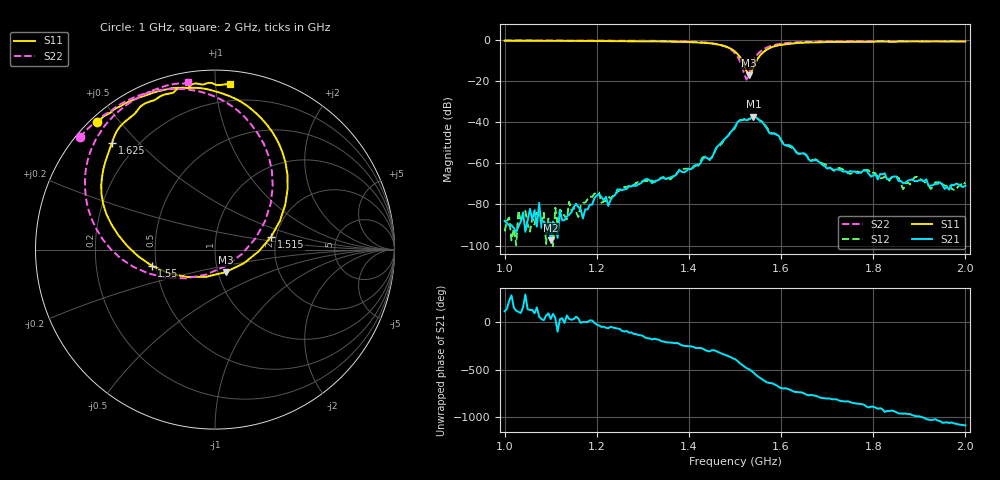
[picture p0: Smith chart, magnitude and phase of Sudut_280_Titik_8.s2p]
# Hz S RI R 50
! CMT, C1220, 16058040, 17.2.0/1
! Date: 14/08/2018 12:08:29
! Data: Format (Calibration Info)
! Freq  S11: Re/Im (F2)  S21: Re/Im (F2)  S12: Re/Im (F2)  S22: Re/Im (F2)
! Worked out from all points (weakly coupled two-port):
!   201 points, 1 GHz to 2 GHz, reference 50 ohm
!   highest |S21| = -37.32 dB at 1.54 GHz (marker M1); lowest = -97.5 dB at 1.1 GHz (marker M2)
!   lowest |S11| = -17.1 dB at 1.53 GHz (marker M3), VSWR 1.32, Z = 54.4 - j13.9 ohm
!   |S11| at or under -10 dB: 1.515 GHz to 1.547 GHz (31.61 MHz wide, 2.06 % of centre)
!   |S22| runs from -19.2 to -0.2 dB; largest |S21 - S12| = 0.00058
!   S11 on the Smith chart (normalised r, x): 1 GHz: 0.02, +0.44; 1.515 GHz: 1.88, +0.30; 1.55 GHz: 0.47, -0.10; 1.625 GHz: 0.11, +0.42; 2 GHz: 0.09, +1.09
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1e9  -0.6548 0.7098  -1.58e-05 3.62e-05  1.07e-05 1.94e-05  -0.7533 0.6258
1.1e9  -0.5643 0.7799  1.13e-05 7.12e-06  -1.18e-05 3.35e-05  -0.6802 0.7007
1.17e9  -0.487 0.8216  4.58e-05 3.55e-07  0.000107 2.78e-05  -0.6162 0.7516
1.205e9  -0.4416 0.8388  0.000142 -0.000103  0.000124 -0.000151  -0.5799 0.7659
1.21e9  -0.4376 0.8408  9.77e-05 -0.000119  9.46e-05 -5.63e-05  -0.5781 0.7689
1.225e9  -0.4175 0.8484  3.91e-05 -8.36e-05  9.43e-05 -0.000122  -0.5661 0.7839
1.245e9  -0.3787 0.8614  8.94e-05 -0.000217  0.000108 -0.000173  -0.5422 0.8005
1.335e9  -0.2301 0.9001  -0.000397 4.75e-05  -0.00042 8.83e-05  -0.3996 0.8665
1.445e9  0.1465 0.8228  0.000772 0.000983  0.000727 0.00096  -0.00614 0.8547
1.5e9  0.4043 0.3366  0.00676 -0.00384  0.00637 -0.00361  0.3217 0.3513
1.515e9  0.313 0.0717  0.000156 -0.0112  0.000494 -0.0112  0.2242 0.0607
1.525e9  0.1588 -0.0773  -0.00628 -0.00925  -0.00628 -0.00945  0.0557 -0.0938
1.53e9  0.0593 -0.1256  -0.00817 -0.00841  -0.00828 -0.00848  -0.0509 -0.1395
1.54e9  -0.1551 -0.153  -0.0134 -0.00235  -0.0133 -0.0024  -0.2707 -0.1568
1.55e9  -0.3518 -0.0903  -0.0101 0.00643  -0.0103 0.00607  -0.4536 -0.0967
1.625e9  -0.5731 0.5959  0.00248 -0.000229  0.00235 -0.00016  -0.703 0.5195
1.67e9  -0.4629 0.7436  0.000748 -0.000924  0.000796 -0.000931  -0.6258 0.6737
1.835e9  -0.1613 0.8996  -0.000333 0.000246  -0.000323 0.000193  -0.3749 0.8746
1.865e9  -0.1292 0.9195  -0.000148 0.000292  -0.000117 0.000202  -0.3337 0.8918
1.895e9  -0.078 0.9203  9.79e-06 0.000371  1.89e-07 0.000472  -0.2903 0.9073
1.925e9  -0.0341 0.9291  0.000184 0.000218  0.000124 0.000205  -0.2492 0.9186
2e9  0.0853 0.9215  0.000285 -3.68e-05  0.00031 -5.65e-05  -0.1507 0.9339
